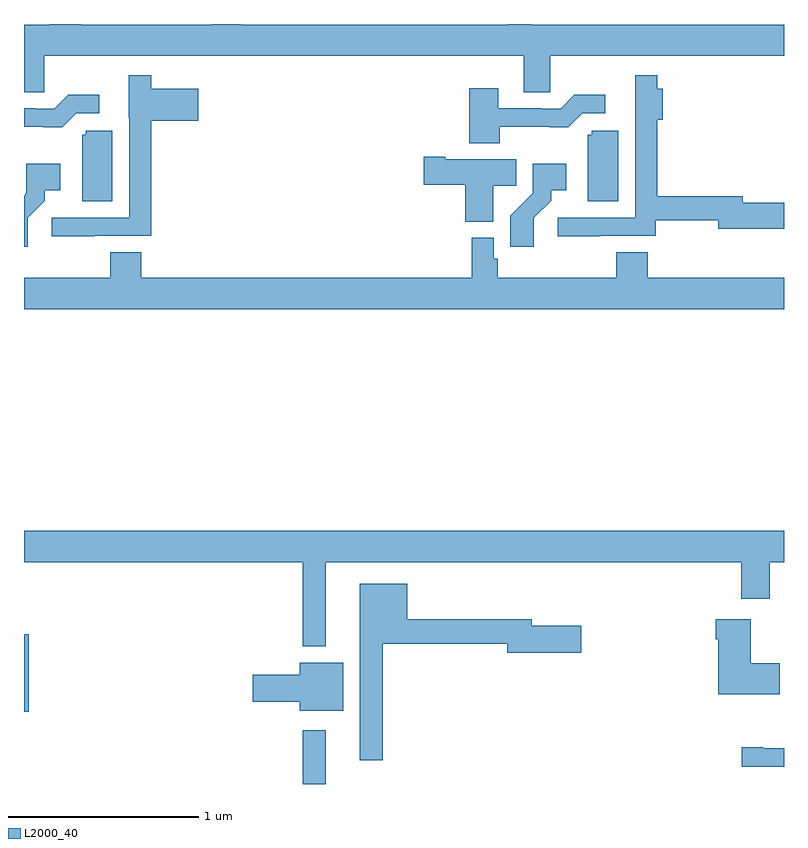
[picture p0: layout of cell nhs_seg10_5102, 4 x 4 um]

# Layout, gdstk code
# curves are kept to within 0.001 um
import gdstk
lib = gdstk.Library(unit=1e-6, precision=1e-09)
def R(c, l, rs):  # rectangles x0, y0, x1, y1
    for r in rs: c.add(gdstk.rectangle(r[:2], r[2:], *l))
def P(c, l, *ps):  # polygons
    for p in ps: c.add(gdstk.Polygon(p, *l))
L2000_40 = (2000, 40)

nhs_seg10_5102 = lib.new_cell('nhs_seg10_5102')
R(nhs_seg10_5102, L2000_40, [(408.468,1280.5,408.589,1280.782), (407,1280.879,407.026,1281.289)])
P(nhs_seg10_5102, L2000_40, [(407.106,1284.332),(409.631,1284.332),(409.631,1284.142),(409.77,1284.142),(409.77,1284.332),(411,1284.332),(411,1284.496),(409.669,1284.496),(409.669,1284.5),(409.547,1284.5),(409.547,1284.496),(408.14,1284.496),(408.14,1284.5),(407.987,1284.5),(407.987,1284.496),(407.3,1284.496),(407.3,1284.5),(407.135,1284.5),(407.135,1284.496),(407,1284.496),(407,1284.142),(407.106,1284.142)],
  [(410.033,1283.385),(410.326,1283.385),(410.326,1283.466),(410.654,1283.466),(410.654,1283.423),(411,1283.423),(411,1283.558),(410.782,1283.558),(410.782,1283.594),(410.333,1283.594),(410.333,1283.995),(410.363,1283.995),(410.363,1284.16),(410.333,1284.16),(410.333,1284.229),(410.216,1284.229),(410.216,1284.006),(410.217,1284.006),(410.217,1283.481),(409.809,1283.481),(409.809,1283.383),(410.033,1283.383)],
  [(407.369,1283.385),(407.669,1283.385),(407.669,1283.99),(407.917,1283.99),(407.917,1284.16),(407.669,1284.16),(407.669,1284.229),(407.552,1284.229),(407.552,1284.006),(407.553,1284.006),(407.553,1283.481),(407.145,1283.481),(407.145,1283.383),(407.369,1283.383)],
  [(409.503,1283.958),(409.865,1283.957),(409.938,1284.03),(410.059,1284.03),(410.059,1284.127),(409.897,1284.127),(409.824,1284.054),(409.724,1284.054),(409.724,1284.057),(409.495,1284.057),(409.495,1284.163),(409.343,1284.163),(409.343,1283.873),(409.503,1283.873)],
  [(407.274,1284.03),(407.395,1284.03),(407.395,1284.127),(407.233,1284.127),(407.16,1284.054),(407.06,1284.054),(407.06,1284.057),(407,1284.057),(407,1283.958),(407.102,1283.958),(407.102,1283.957),(407.201,1283.957)],
  [(407.464,1283.937),(407.325,1283.937),(407.325,1283.916),(407.306,1283.916),(407.306,1283.568),(407.464,1283.568)],
  [(410.128,1283.937),(409.989,1283.937),(409.989,1283.916),(409.967,1283.916),(409.967,1283.568),(410.128,1283.568)],
  [(409.471,1283.65),(409.592,1283.65),(409.592,1283.788),(409.216,1283.788),(409.216,1283.801),(409.104,1283.801),(409.104,1283.654),(409.322,1283.654),(409.322,1283.459),(409.471,1283.459)],
  [(407.02,1283.479),(407.11,1283.569),(407.11,1283.624),(407.191,1283.624),(407.191,1283.764),(407.013,1283.764),(407.013,1283.609),(407,1283.596),(407,1283.328),(407.02,1283.328)],
  [(409.684,1283.479),(409.774,1283.569),(409.774,1283.624),(409.855,1283.624),(409.855,1283.764),(409.677,1283.764),(409.677,1283.609),(409.558,1283.49),(409.558,1283.328),(409.684,1283.328)],
  [(411,1283.164),(410.282,1283.164),(410.282,1283.3),(410.117,1283.3),(410.117,1283.164),(409.493,1283.164),(409.493,1283.265),(409.473,1283.265),(409.473,1283.374),(409.357,1283.374),(409.357,1283.164),(407.618,1283.164),(407.618,1283.3),(407.453,1283.3),(407.453,1283.164),(407,1283.164),(407,1283),(411,1283)],
  [(408.589,1281.668),(410.774,1281.668),(410.774,1281.474),(410.926,1281.474),(410.926,1281.668),(411,1281.668),(411,1281.832),(407,1281.832),(407,1281.668),(408.468,1281.668),(408.468,1281.224),(408.589,1281.224)],
  [(408.889,1281.238),(409.544,1281.238),(409.544,1281.191),(409.933,1281.191),(409.933,1281.333),(409.672,1281.333),(409.672,1281.367),(409.018,1281.367),(409.018,1281.553),(408.767,1281.553),(408.767,1280.625),(408.889,1280.625)],
  [(410.977,1281.135),(410.824,1281.135),(410.824,1281.367),(410.642,1281.367),(410.642,1281.263),(410.654,1281.263),(410.654,1280.972),(410.977,1280.972)],
  [(408.679,1281.139),(408.452,1281.139),(408.452,1281.074),(408.204,1281.074),(408.204,1280.932),(408.452,1280.932),(408.452,1280.885),(408.679,1280.885)],
  [(411,1280.688),(410.89,1280.688),(410.89,1280.693),(410.778,1280.693),(410.778,1280.592),(411,1280.592)])

lib.write_gds('nhs_seg10_5102.gds')
